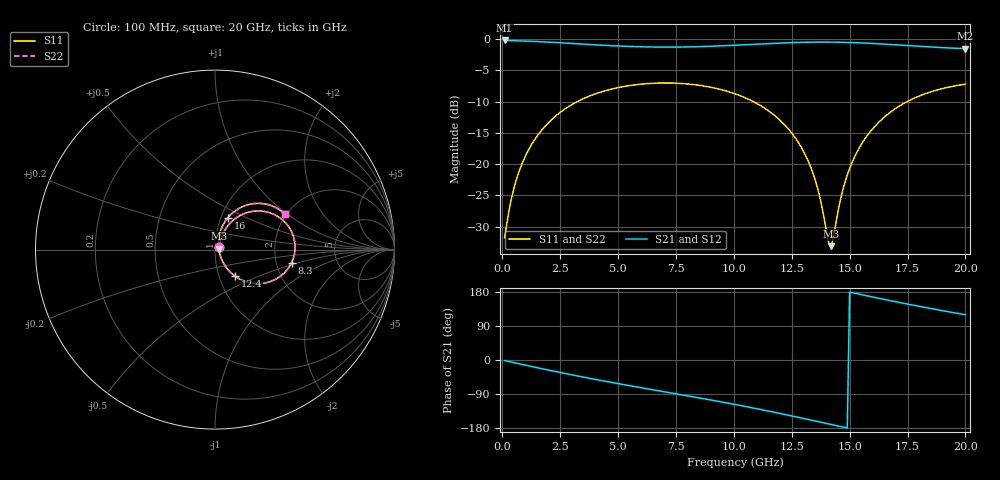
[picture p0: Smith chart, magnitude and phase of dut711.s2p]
! Touchstone file exported from HFSS 2026.1.0
!  File:  C:/ffzhzh/LocalFiles/Ansys_Project_Files/temp_train_TSV_RDL_711_1783200310_18472.aedt
!  Generated:  05:34:03 AM Jul  5, 2026
!  Design:  TSV_RDL
!  Project:  temp_train_TSV_RDL_711_1783200310_18472
! Variables:
!  h_bsmrdl = 5.03um
!  h_ox = 20um
!  h_rdl = 5um
!  h_sub = 55.12um
!  h_tmrdl = 3.25um
!  h_tsv = 55.12um
!  h_via = 3um
!  l_bsmrdl = 331.08um
!  l_sub = 3922.8um
!  l_tmrdl = 610.4um
!  m_sub = 200um
!  pitch = 37.25um
!  r_tsv = 14um
!  s_tmrdl = 10um
!  w_bsmrdl = 13.43um
!  w_sub = 500um
!  w_tmrdl = 15.89um
!  x_tsv_center1 = 618.345um
!  x_tsv_center2 = 962.855um
!  x_tsv_center3 = 1589.145um
!  x_tsv_center4 = 1933.655um
!  x_tsv_center5 = 2559.945um
!  x_tsv_center6 = 2904.455um
# GHz S MA R 50.000000
! Terminal data exported
! Port[1] = TM_RDL1_1_T1
! Port[2] = TM_RDL5_1_T1
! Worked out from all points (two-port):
!   200 points, 100 MHz to 20 GHz, reference 50 ohm
!   highest |S21| = -0.20 dB at 100 MHz (marker M1); lowest = -1.5 dB at 20 GHz (marker M2)
!   |S21| within 3 dB of the highest: start of sweep to end of sweep
!   lowest |S11| = -33.1 dB at 14.2 GHz (marker M3), VSWR 1.05, Z = 52.2 + j0.615 ohm
!   |S11| at or under -10 dB: start of sweep to 3.231 GHz; 10.85 GHz to 17.48 GHz (6.63 GHz wide, 46.8 % of centre)
!   |S22| runs from -33.4 to -7.0 dB; largest |S21 - S12| = 1.6e-14
!   S11 on the Smith chart (normalised r, x): 100 MHz: 1.05, +0.02; 8.3 GHz: 2.43, -0.44; 12.4 GHz: 1.19, -0.37; 16 GHz: 1.08, +0.40; 20 GHz: 1.97, +0.96
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0.1  0.02578 27.5  0.9774 -1.4  0.9774 -1.4  0.02578 27.5
! Gamma 0 0 0 0
! Port Impedance 50 0 50 0
0.5  0.06405 59.9  0.9729 -6.9  0.9729 -6.9  0.06405 59.9
1.2  0.137 62.4  0.9632 -16.3  0.9632 -16.3  0.137 62.4
2.2  0.2338 53.9  0.944 -29.2  0.944 -29.2  0.2338 53.9
3.5  0.3344 40.0  0.9133 -45.2  0.9133 -45.2  0.3344 40.0
5  0.4101 24.0  0.8823 -62.3  0.8823 -62.3  0.4101 24.0
6.8  0.446 5.6  0.8647 -81.7  0.8647 -81.7  0.446 5.5
8.3  0.4326 -9.7  0.8698 -97.8  0.8698 -97.8  0.4326 -9.8
10.1  0.3632 -28.6  0.8962 -117.9  0.8962 -117.9  0.3632 -28.7
11.4  0.2751 -42.6  0.9214 -133.6  0.9214 -133.6  0.2751 -42.7
12.4  0.1871 -52.8  0.9383 -146.3  0.9383 -146.3  0.1871 -53.0
13.4  0.08656 -57.6  0.9479 -159.4  0.9479 -159.4  0.08646 -58.0
13.7  0.05591 -53.1  0.9489 -163.4  0.9489 -163.4  0.05571 -53.7
14.1  0.02324 -11.0  0.9486 -168.8  0.9486 -168.8  0.02264 -11.7
14.2  0.0221 15.5  0.9483 -170.1  0.9483 -170.1  0.02143 15.6
14.6  0.05162 67.1  0.9457 -175.5  0.9457 -175.5  0.0513 67.8
14.9  0.0821 72.9  0.9427 -179.5  0.9427 -179.5  0.08187 73.3
15.4  0.1335 72.5  0.9357 173.9  0.9357 173.9  0.1334 72.8
16  0.1926 67.9  0.9246 166.1  0.9246 166.1  0.1925 68.1
16.7  0.2556 61.0  0.9089 157.3  0.9089 157.3  0.2555 61.1
18.2  0.3625 45.2  0.8731 139.4  0.8731 139.4  0.3624 45.3
20  0.4365 26.8  0.8409 119.4  0.8409 119.4  0.4364 26.9
